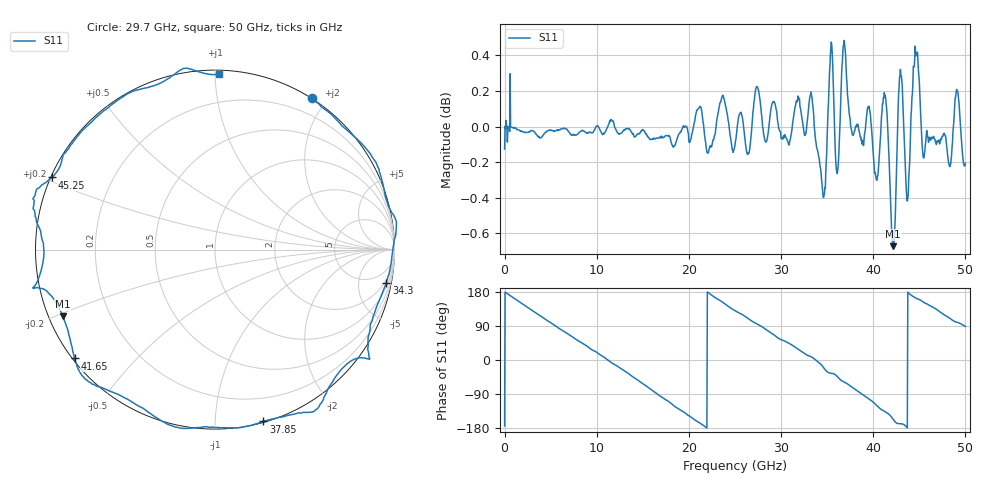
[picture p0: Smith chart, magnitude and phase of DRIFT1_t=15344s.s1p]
!Created with skrf (http://scikit-rf.org).
# Hz S RI R 50.0
!freq ReS11 ImS11
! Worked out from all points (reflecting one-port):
!   1001 points, 300 kHz to 50 GHz, reference 50 ohm
!   lowest |S11| = -0.7 dB at 42.15 GHz (marker M1), VSWR 25.83, Z = 2.02 - j10.5 ohm
!   phase of S11 starts at -174 deg and turns -817 deg over the sweep
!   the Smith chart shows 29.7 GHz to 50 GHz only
!   S11 on the Smith chart (normalised r, x): 29.7 GHz: -0.00, +1.83; 34.3 GHz: 1, -10; 37.85 GHz: 0.01, -1.32; 41.65 GHz: 0.01, -0.34; 45.25 GHz: 0.00, +0.21; 50 GHz: 0.02, +1.03
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300000  -0.9804 -0.1005
1.450291e9  -0.9121 0.4052
3.25028e9  -0.5917 0.8016
6.250262e9  0.2026 0.9779
9.500243e9  0.8926 0.4419
1.250022e10  0.9317 -0.35
1.580021e10  0.2366 -0.9629
1.74002e10  -0.2241 -0.9681
1.875019e10  -0.5988 -0.7918
2.150017e10  -0.9929 -0.1501
2.350016e10  -0.9228 0.4282
2.500015e10  -0.6328 0.7588
2.740014e10  -0.095 1.022
2.970012e10  0.5393 0.8429
3.125011e10  0.7875 0.6197
3.31001e10  1.003 0.1778
3.430009e10  0.9549 -0.1848
3.520009e10  0.8549 -0.5689
3.750008e10  0.3711 -0.9335
3.785007e10  0.2695 -0.9574
3.960006e10  -0.2374 -0.9831
4.165005e10  -0.7818 -0.6067
4.215005e10  -0.8473 -0.3721
4.290004e10  -1.011 -0.2144
4.375004e10  -0.955 0.0139
4.525003e10  -0.9099 0.4017
4.770001e10  -0.4893 0.8672
5e10  0.0251 0.9761
